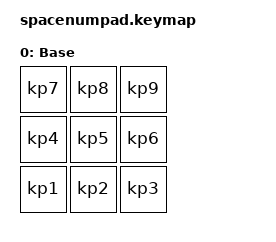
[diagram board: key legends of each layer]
#include <behaviors.dtsi>
#include <dt-bindings/zmk/keys.h>

/ {
    combos {
        compatible = "zmk,combos";

        zero {
            bindings = <&ht_zero_dot DOT KP_NUMBER_0>;
            key-positions = <0 1 2>;
        };
    };

    behaviors {
        ht_zero_dot: ht_zero_dot {
            compatible = "zmk,behavior-hold-tap";
            label = "HT_ZERO_DOT";
            bindings = <&kp>, <&kp>;

            #binding-cells = <2>;
            tapping-term-ms = <200>;
            flavor = "tap-preferred";
        };
    };

    keymap {
        compatible = "zmk,keymap";

        default_layer {
            display-name = "Base";
            bindings = <
&kp KP_NUMBER_1  &kp KP_NUMBER_2  &kp KP_NUMBER_3  &kp KP_NUMBER_4  &kp KP_NUMBER_5  &kp KP_NUMBER_6  &kp KP_NUMBER_7  &kp KP_NUMBER_8  &kp KP_NUMBER_9
            >;
        };
    };
};
